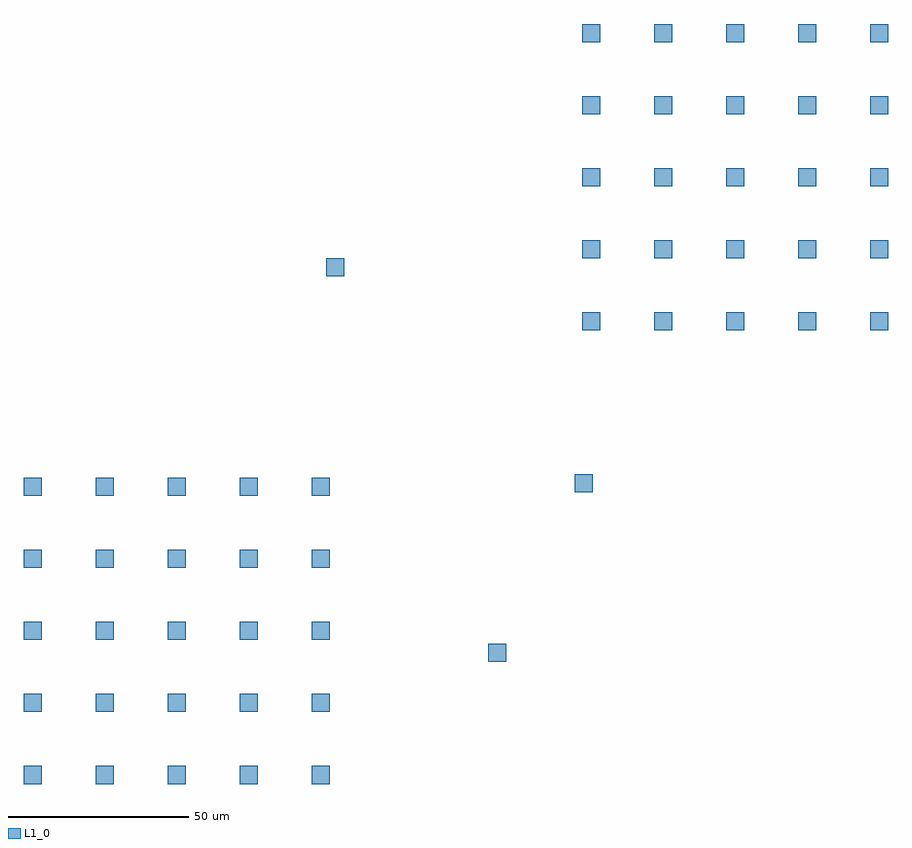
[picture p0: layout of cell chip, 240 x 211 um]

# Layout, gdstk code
import gdstk
lib = gdstk.Library(unit=1e-6, precision=1e-09)
def R(c, l, rs):  # rectangles x0, y0, x1, y1
    for r in rs: c.add(gdstk.rectangle(r[:2], r[2:], *l))
L1_0 = (1, 0)

cell1 = lib.new_cell('cell1')
R(cell1, L1_0, [(-5,-5,0,0)])

device = lib.new_cell('device')
r = gdstk.Reference(cell1, (0,0)); r.repetition = gdstk.Repetition(5, 5, v1=(20,0), v2=(0,20)); device.add(r)

chip = lib.new_cell('chip')
chip.add(gdstk.Reference(device, (178,50)))
chip.add(gdstk.Reference(device, (23,-76)))
chip.add(gdstk.Reference(cell1, (176,5)))
chip.add(gdstk.Reference(cell1, (152,-42)))
chip.add(gdstk.Reference(cell1, (107,65)))

lib.write_gds('chip.gds')
